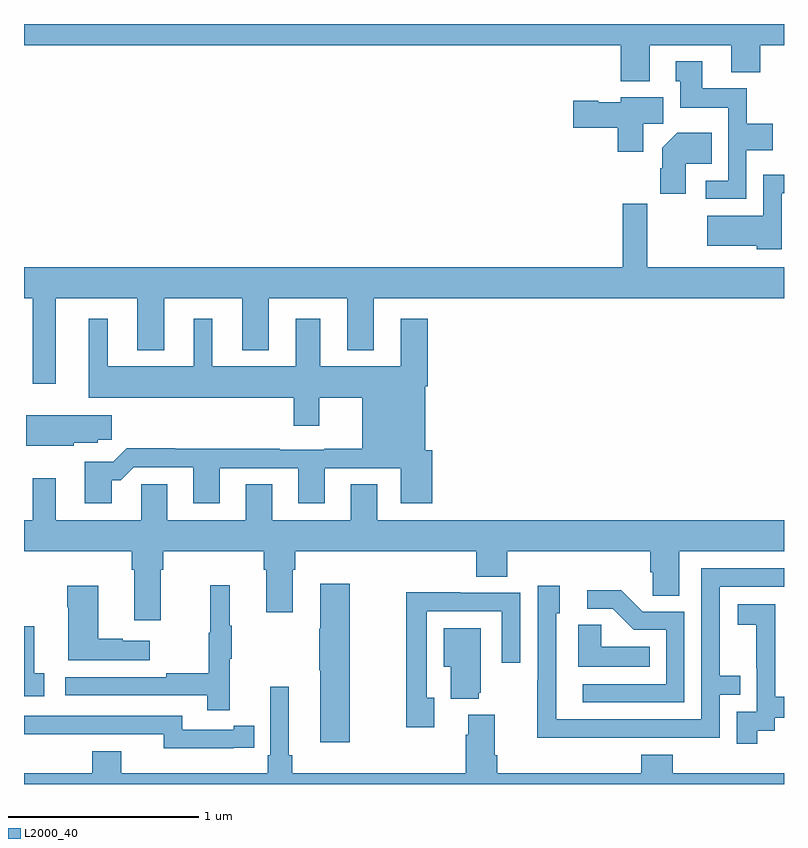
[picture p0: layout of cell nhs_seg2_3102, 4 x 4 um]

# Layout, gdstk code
import gdstk
lib = gdstk.Library(unit=1e-6, precision=1e-09)
def P(c, l, *ps):  # polygons
    for p in ps: c.add(gdstk.Polygon(p, *l))
L2000_40 = (2000, 40)

nhs_seg2_3102 = lib.new_cell('nhs_seg2_3102')
P(nhs_seg2_3102, L2000_40, [(278.293,595.688),(278.723,595.688),(278.723,595.547),(278.876,595.547),(278.876,595.688),(279,595.688),(279,595.8),(275,595.8),(275,595.688),(278.141,595.688),(278.141,595.499),(278.293,595.499)],
  [(278.802,595.136),(278.941,595.136),(278.941,595.276),(278.805,595.276),(278.805,595.462),(278.569,595.462),(278.569,595.603),(278.429,595.603),(278.429,595.5),(278.453,595.5),(278.453,595.358),(278.706,595.358),(278.706,594.975),(278.589,594.975),(278.589,594.879),(278.802,594.879)],
  [(278.26,595.276),(278.365,595.276),(278.365,595.414),(278.142,595.414),(278.142,595.387),(278.022,595.387),(278.022,595.395),(277.89,595.395),(277.89,595.253),(278.126,595.253),(278.126,595.128),(278.26,595.128)],
  [(278.482,595.064),(278.621,595.064),(278.621,595.228),(278.438,595.228),(278.36,595.15),(278.36,595.04),(278.348,595.04),(278.348,594.906),(278.482,594.906)],
  [(278.988,594.909),(279,594.909),(279,595.006),(278.892,595.006),(278.892,594.79),(278.595,594.79),(278.595,594.632),(278.856,594.632),(278.856,594.614),(278.988,594.614)],
  [(275.167,594.356),(275.597,594.356),(275.597,594.083),(275.737,594.083),(275.737,594.356),(276.149,594.356),(276.149,594.083),(276.289,594.083),(276.289,594.356),(276.701,594.356),(276.701,594.083),(276.841,594.083),(276.841,594.356),(279,594.356),(279,594.52),(278.281,594.52),(278.281,594.853),(278.152,594.853),(278.152,594.52),(275,594.52),(275,594.356),(275.046,594.356),(275.046,593.907),(275.167,593.907)],
  [(275.461,593.399),(275.51,593.399),(275.577,593.466),(275.891,593.466),(275.891,593.277),(276.031,593.277),(276.031,593.463),(276.443,593.463),(276.443,593.277),(276.583,593.277),(276.583,593.463),(276.983,593.463),(276.983,593.277),(277.148,593.277),(277.148,593.556),(277.111,593.556),(277.111,593.894),(277.124,593.894),(277.124,594.25),(276.983,594.25),(276.983,593.998),(276.559,593.998),(276.559,594.25),(276.431,594.25),(276.431,593.998),(275.992,593.998),(275.992,594.25),(275.894,594.25),(275.894,593.998),(275.44,593.998),(275.44,594.25),(275.342,594.25),(275.342,593.834),(276.419,593.834),(276.419,593.685),(276.553,593.685),(276.553,593.834),(276.779,593.834),(276.779,593.564),(276.579,593.564),(276.579,593.559),(276.347,593.559),(276.347,593.564),(275.795,593.564),(275.795,593.567),(275.54,593.567),(275.469,593.496),(275.321,593.496),(275.321,593.277),(275.461,593.277)],
  [(275.262,593.597),(275.388,593.597),(275.388,593.611),(275.461,593.611),(275.461,593.74),(275.012,593.74),(275.012,593.579),(275.262,593.579)],
  [(276.859,593.378),(276.719,593.378),(276.719,593.188),(276.307,593.188),(276.307,593.378),(276.167,593.378),(276.167,593.188),(275.755,593.188),(275.755,593.378),(275.616,593.378),(275.616,593.188),(275.167,593.188),(275.167,593.41),(275.046,593.41),(275.046,593.188),(275,593.188),(275,593.024),(275.567,593.024),(275.567,592.928),(275.579,592.928),(275.579,592.662),(275.719,592.662),(275.719,592.928),(275.732,592.928),(275.732,593.024),(276.263,593.024),(276.263,592.928),(276.275,592.928),(276.275,592.704),(276.415,592.704),(276.415,592.928),(276.428,592.928),(276.428,593.024),(277.379,593.024),(277.379,592.891),(277.544,592.891),(277.544,593.024),(278.297,593.024),(278.297,592.915),(278.31,592.915),(278.31,592.792),(278.449,592.792),(278.449,593.024),(279,593.024),(279,593.188),(276.859,593.188)],
  [(278.165,592.044),(278.661,592.044),(278.661,592.269),(278.771,592.269),(278.771,592.37),(278.661,592.37),(278.661,592.839),(279,592.839),(279,592.935),(278.565,592.935),(278.565,592.14),(277.8,592.14),(277.8,592.698),(277.819,592.698),(277.819,592.843),(277.704,592.843),(277.704,592.349),(277.702,592.349),(277.702,592.043),(278.165,592.043)],
  [(276.714,592.855),(276.56,592.855),(276.56,592.616),(276.553,592.616),(276.553,592.399),(276.56,592.399),(276.56,592.02),(276.714,592.02)],
  [(276.083,592.459),(276.094,592.459),(276.094,592.633),(276.083,592.633),(276.083,592.846),(275.98,592.846),(275.98,592.596),(275.973,592.596),(275.973,592.382),(275.749,592.382),(275.749,592.362),(275.217,592.362),(275.217,592.266),(275.965,592.266),(275.965,592.188),(276.083,592.188)],
  [(275.662,592.555),(275.519,592.555),(275.519,592.565),(275.392,592.565),(275.392,592.843),(275.227,592.843),(275.227,592.73),(275.234,592.73),(275.234,592.451),(275.662,592.451)],
  [(278.475,592.707),(278.256,592.707),(278.143,592.82),(277.965,592.82),(277.965,592.722),(278.099,592.722),(278.21,592.611),(278.379,592.611),(278.379,592.326),(277.941,592.326),(277.941,592.23),(278.475,592.23)],
  [(277.159,592.254),(277.119,592.254),(277.119,592.71),(277.515,592.71),(277.515,592.437),(277.611,592.437),(277.611,592.806),(277.295,592.806),(277.295,592.808),(277.011,592.808),(277.011,592.098),(277.159,592.098)],
  [(278.86,592.081),(278.952,592.081),(278.952,592.149),(279,592.149),(279,592.258),(278.954,592.258),(278.954,592.541),(278.955,592.541),(278.955,592.747),(278.757,592.747),(278.757,592.637),(278.855,592.637),(278.855,592.409),(278.856,592.409),(278.856,592.179),(278.751,592.179),(278.751,592.011),(278.86,592.011)],
  [(278.294,592.522),(278.037,592.522),(278.037,592.637),(277.916,592.637),(277.916,592.418),(278.294,592.418)],
  [(275.107,592.383),(275.054,592.383),(275.054,592.63),(275,592.63),(275,592.263),(275.107,592.263)],
  [(277.394,592.281),(277.405,592.281),(277.405,592.621),(277.208,592.621),(277.208,592.418),(277.247,592.418),(277.247,592.25),(277.394,592.25)],
  [(279,591.856),(278.414,591.856),(278.414,591.955),(278.249,591.955),(278.249,591.856),(277.49,591.856),(277.49,591.952),(277.477,591.952),(277.477,592.165),(277.337,592.165),(277.337,592.058),(277.325,592.058),(277.325,591.856),(276.413,591.856),(276.413,591.952),(276.394,591.952),(276.394,592.312),(276.297,592.312),(276.297,591.952),(276.284,591.952),(276.284,591.856),(275.512,591.856),(275.512,591.973),(275.36,591.973),(275.36,591.856),(275,591.856),(275,591.8),(279,591.8)],
  [(276.104,591.99),(276.212,591.99),(276.212,592.106),(276.104,592.106),(276.104,592.086),(275.832,592.086),(275.832,592.158),(275,592.158),(275,592.061),(275.276,592.061),(275.276,592.062),(275.736,592.062),(275.736,591.989),(276.104,591.989)])

lib.write_gds('nhs_seg2_3102.gds')
